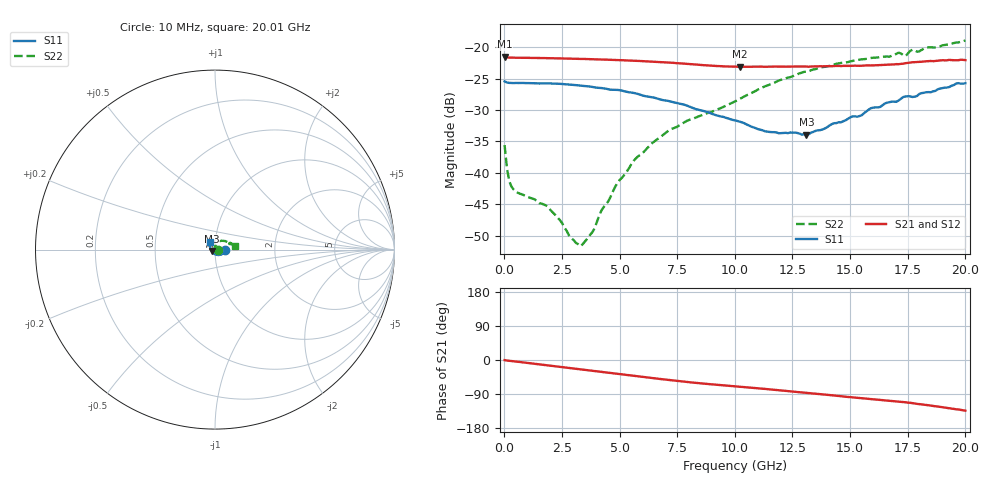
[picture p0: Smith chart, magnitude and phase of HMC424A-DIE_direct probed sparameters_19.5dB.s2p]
!s2p File: Measurements: S11, S21, S12, S22
# GHz S dB R 50.0
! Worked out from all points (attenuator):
!   201 points, 10 MHz to 20.01 GHz, reference 50 ohm
!   highest |S21| = -21.49 dB at 10 MHz (marker M1); lowest = -23.1 dB at 10.21 GHz (marker M2)
!   lowest |S11| = -33.9 dB at 13.11 GHz (marker M3), VSWR 1.04, Z = 48.2 - j0.73 ohm
!   |S11| at or under -10 dB: start of sweep to end of sweep
!   |S22| runs from -51.7 to -18.9 dB; largest |S21 - S12| = 0.00077
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0.01  -25.43 -0.1  -21.49 -0.3  -21.50 -0.3  -35.59 -6.2
0.11  -25.61 -1.6  -21.60 -1.4  -21.60 -1.4  -39.22 -23.6
0.21  -25.67 -1.9  -21.64 -2.0  -21.64 -2.0  -41.31 -21.4
0.41  -25.70 -2.9  -21.66 -3.4  -21.66 -3.4  -42.69 -14.8
1.81  -25.74 -12.0  -21.73 -13.9  -21.72 -13.9  -45.21 -5.2
2.41  -25.82 -16.6  -21.77 -18.4  -21.77 -18.4  -47.54 -1.2
2.91  -25.97 -19.7  -21.81 -22.1  -21.81 -22.1  -50.43 15.7
3.31  -26.11 -22.6  -21.85 -25.1  -21.84 -25.1  -51.69 43.1
3.41  -26.15 -23.3  -21.86 -25.8  -21.85 -25.8  -51.33 51.6
3.91  -26.38 -27.4  -21.91 -29.5  -21.91 -29.5  -48.90 84.0
4.21  -26.49 -29.5  -21.94 -31.7  -21.94 -31.7  -46.01 92.3
4.91  -26.79 -35.2  -22.04 -36.9  -22.03 -36.8  -41.62 99.7
5.71  -27.35 -41.5  -22.15 -42.7  -22.15 -42.6  -37.70 97.9
6.71  -28.25 -50.5  -22.35 -49.8  -22.34 -49.7  -34.47 90.8
7.91  -29.27 -61.1  -22.63 -57.9  -22.64 -57.9  -31.74 80.9
10.01  -31.65 -89.9  -23.08 -69.4  -23.08 -69.3  -28.63 72.0
10.21  -31.84 -92.8  -23.10 -70.3  -23.09 -70.3  -28.24 71.5
11.31  -33.38 -115.3  -23.10 -76.3  -23.09 -76.3  -26.22 64.6
13.11  -33.93 -157.9  -23.06 -86.9  -23.05 -86.8  -23.87 50.0
13.41  -33.48 -165.2  -23.05 -88.4  -23.06 -88.3  -23.53 47.9
16.71  -28.74 140.2  -22.74 -107.8  -22.72 -107.7  -21.49 25.6
20.01  -25.73 124.1  -22.05 -133.7  -22.02 -133.6  -18.91 9.5
